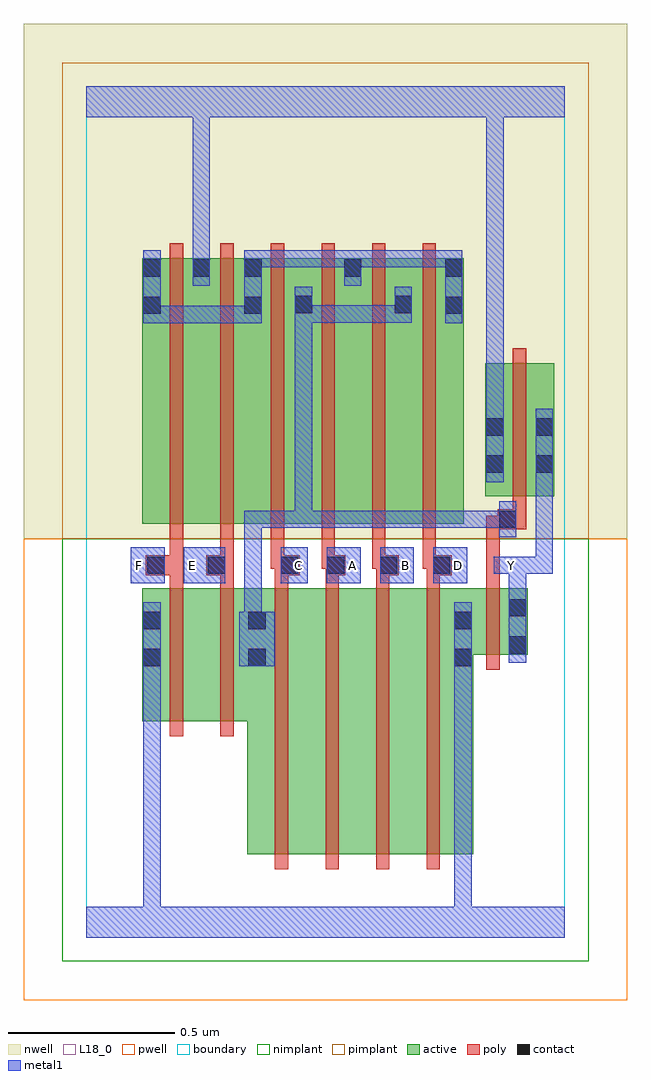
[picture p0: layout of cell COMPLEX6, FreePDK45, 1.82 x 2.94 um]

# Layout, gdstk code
import gdstk
lib = gdstk.Library(unit=1e-6, precision=1e-09)
def R(c, l, rs):  # rectangles x0, y0, x1, y1
    for r in rs: c.add(gdstk.rectangle(r[:2], r[2:], *l))
def A(c, l, x, y, w, h, nx, ny, dx, dy):  # array of equal rectangles
    R(c, l, [(x+i*dx, y+j*dy, x+i*dx+w, y+j*dy+h) for i in range(nx) for j in range(ny)])
active = (1, 0)
pwell = (2, 0)
nwell = (3, 0)
nimplant = (4, 0)
pimplant = (5, 0)
poly = (9, 0)
contact = (10, 0)
metal1 = (11, 0)
L18_0 = (18, 0)
boundary = (235, 0)

complex6 = lib.new_cell('COMPLEX6')
R(complex6, active, [(0.484,0.25,0.664,1.05), (0.664,0.25,0.816,1.05), (0.816,0.25,0.968,1.05), (0.968,0.25,1.164,1.05), (1.104,0.25,1.164,1.05), (0.168,0.65,0.348,1.05), (0.348,0.65,0.544,1.05), (0.168,0.756,0.228,1.05), (0.484,0.756,0.544,0.984), (1.104,0.85,1.328,1.05), (1.268,0.85,1.328,1.05), (0.168,1.244,0.228,2.044), (0.168,1.244,0.376,2.044), (0.316,1.244,0.532,2.044), (0.472,1.244,0.684,2.044), (0.624,1.244,0.832,2.044), (0.772,1.244,0.984,2.044), (0.924,1.244,1.136,2.044), (1.076,1.244,1.136,2.044), (0.624,1.294,0.684,2.044), (0.924,1.32,0.984,2.044), (1.2,1.328,1.26,1.728), (1.2,1.328,1.408,1.728), (1.348,1.328,1.408,1.728), (0.472,1.366,0.532,2.044), (0.772,1.432,0.832,2.044), (0.316,1.448,0.376,2.044)])
R(complex6, pwell, [(-0.188,-0.188,1.628,1.2)])
R(complex6, nwell, [(-0.188,1.2,1.628,2.748)])
R(complex6, nimplant, [(-0.072,-0.072,1.512,1.2)])
R(complex6, pimplant, [(-0.072,1.2,1.512,2.632)])
A(complex6, poly, 0.568, 0.206, 0.04, 0.888, 4, 1, 0.152, 0)
A(complex6, poly, 0.568, 1.054, 0.04, 0.076, 4, 1, 0.152, 0)
A(complex6, poly, 0.252, 1.11, 0.04, 0.13, 6, 1, 0.152, 0)
A(complex6, poly, 0.556, 1.11, 0.052, 0.04, 4, 1, 0.152, 0)
A(complex6, poly, 0.568, 1.11, 0.04, 0.04, 4, 1, 0.152, 0)
A(complex6, poly, 0.252, 1.2, 0.04, 0.888, 6, 1, 0.152, 0)
R(complex6, poly, [(0.252,0.606,0.292,1.094), (0.404,0.606,0.444,1.094), (1.204,0.806,1.244,1.094), (0.252,1.054,0.292,1.13), (0.404,1.054,0.444,1.13), (1.204,1.054,1.244,1.268), (0.18,1.09,0.292,1.15), (0.252,1.09,0.292,1.13), (0.252,1.09,0.292,1.13), (0.362,1.09,0.444,1.15), (0.568,1.09,0.642,1.15), (0.72,1.09,0.78,1.15), (0.872,1.09,0.94,1.15), (1.024,1.09,1.1,1.15), (0.404,1.11,0.444,1.15), (0.404,1.11,0.444,1.15), (1.204,1.228,1.278,1.268), (1.238,1.228,1.278,1.268), (1.238,1.228,1.324,1.288), (1.284,1.248,1.324,1.324), (1.284,1.284,1.324,1.772)])
A(complex6, contact, 0.724, 1.094, 0.052, 0.052, 3, 1, 0.16, 0)
R(complex6, contact, [(0.172,0.816,0.224,0.868), (0.488,0.816,0.54,0.868), (1.108,0.816,1.16,0.868), (1.272,0.854,1.324,0.906), (0.172,0.928,0.224,0.98), (0.488,0.928,0.54,0.98), (1.108,0.928,1.16,0.98), (1.272,0.966,1.324,1.018), (0.184,1.094,0.236,1.146), (0.366,1.094,0.418,1.146), (0.586,1.094,0.638,1.146), (1.242,1.232,1.294,1.284), (1.204,1.398,1.256,1.45), (1.352,1.398,1.404,1.45), (1.204,1.51,1.256,1.562), (1.352,1.51,1.404,1.562), (0.172,1.876,0.224,1.928), (0.476,1.876,0.528,1.928), (1.08,1.876,1.132,1.928), (0.628,1.878,0.68,1.93), (0.928,1.878,0.98,1.93), (0.172,1.988,0.224,2.04), (0.32,1.988,0.372,2.04), (0.476,1.988,0.528,2.04), (0.776,1.988,0.828,2.04), (1.08,1.988,1.132,2.04)])
A(complex6, metal1, 0.724, 1.066, 0.102, 0.108, 3, 1, 0.16, 0)
R(complex6, metal1, [(0,0,1.44,0.092), (0.172,0.04,0.224,0.092), (0.172,0.04,0.224,0.092), (0.172,0.04,0.224,0.84), (1.108,0.04,1.16,0.092), (1.108,0.04,1.16,0.092), (1.108,0.04,1.16,0.84), (0.172,0.788,0.224,0.84), (0.172,0.788,0.224,0.84), (0.172,0.788,0.224,0.84), (0.172,0.788,0.224,0.84), (0.172,0.788,0.224,0.84), (0.172,0.788,0.224,0.84), (0.172,0.788,0.224,0.84), (0.172,0.788,0.224,0.84), (0.172,0.788,0.224,0.84), (0.172,0.788,0.224,0.84), (0.172,0.788,0.224,1.008), (1.108,0.788,1.16,0.84), (1.108,0.788,1.16,0.84), (1.108,0.788,1.16,1.008), (0.46,0.816,0.568,0.98), (1.272,0.826,1.324,1.046), (0.476,0.928,0.528,1.284), (1.272,0.994,1.324,1.146), (0.134,1.066,0.236,1.174), (0.294,1.066,0.418,1.174), (0.586,1.066,0.666,1.174), (1.226,1.094,1.404,1.146), (1.352,1.094,1.404,1.422), (1.242,1.204,1.294,1.312), (0.476,1.232,0.528,1.284), (0.476,1.232,0.528,1.284), (0.476,1.232,0.528,1.284), (0.476,1.232,0.528,1.284), (0.476,1.232,0.528,1.284), (0.476,1.232,0.68,1.284), (0.628,1.232,0.68,1.284), (0.628,1.232,0.68,1.284), (0.628,1.232,0.68,1.284), (0.628,1.232,0.828,1.284), (0.628,1.232,0.68,1.902), (0.776,1.232,0.828,1.284), (0.776,1.232,0.828,1.284), (0.776,1.232,0.828,1.284), (0.776,1.232,0.938,1.284), (0.886,1.232,0.938,1.284), (0.886,1.232,0.938,1.284), (0.886,1.232,0.938,1.284), (0.886,1.232,1.096,1.284), (1.044,1.232,1.096,1.284), (1.044,1.232,1.096,1.284), (1.044,1.232,1.096,1.284), (1.044,1.232,1.294,1.284), (1.204,1.37,1.256,1.59), (1.352,1.37,1.404,1.422), (1.352,1.37,1.404,1.422), (1.352,1.37,1.404,1.59), (1.204,1.538,1.256,1.59), (1.204,1.538,1.256,1.59), (1.204,1.538,1.256,2.52), (0.172,1.848,0.224,1.9), (0.172,1.848,0.224,1.9), (0.172,1.848,0.224,2.068), (0.172,1.848,0.334,1.9), (0.282,1.848,0.334,1.9), (0.282,1.848,0.334,1.9), (0.282,1.848,0.334,1.9), (0.282,1.848,0.528,1.9), (0.476,1.848,0.528,2.068), (1.08,1.848,1.132,2.068), (0.628,1.85,0.68,1.902), (0.628,1.85,0.68,1.902), (0.628,1.85,0.68,1.958), (0.628,1.85,0.79,1.902), (0.738,1.85,0.79,1.902), (0.738,1.85,0.79,1.902), (0.738,1.85,0.79,1.902), (0.738,1.85,0.98,1.902), (0.928,1.85,0.98,1.958), (0.32,1.96,0.372,2.068), (0.776,1.96,0.828,2.068), (0.32,2.016,0.372,2.068), (0.32,2.016,0.372,2.068), (0.32,2.016,0.372,2.068), (0.32,2.016,0.372,2.068), (0.32,2.016,0.372,2.068), (0.32,2.016,0.372,2.068), (0.32,2.016,0.372,2.068), (0.32,2.016,0.372,2.068), (0.32,2.016,0.372,2.52), (0.476,2.016,0.528,2.068), (0.476,2.016,0.528,2.068), (0.476,2.016,0.528,2.068), (0.476,2.016,0.528,2.068), (0.476,2.016,0.678,2.068), (0.626,2.016,0.678,2.068), (0.626,2.016,0.678,2.068), (0.626,2.016,0.678,2.068), (0.626,2.016,0.828,2.068), (0.776,2.016,0.828,2.068), (0.776,2.016,0.828,2.068), (0.776,2.016,0.938,2.068), (0.886,2.016,0.938,2.068), (0.886,2.016,0.938,2.068), (0.886,2.016,0.938,2.068), (0.886,2.016,1.132,2.068), (0,2.468,1.44,2.56), (1.204,2.468,1.256,2.52), (1.204,2.468,1.256,2.52), (1.204,2.468,1.256,2.52), (1.204,2.468,1.256,2.52), (1.204,2.468,1.256,2.52), (1.204,2.468,1.256,2.52), (1.204,2.468,1.256,2.52), (1.204,2.468,1.256,2.52), (1.204,2.468,1.256,2.52), (1.204,2.468,1.256,2.52), (1.204,2.468,1.256,2.52), (1.204,2.468,1.256,2.52), (1.204,2.468,1.256,2.52), (1.204,2.468,1.256,2.52)])
A(complex6, L18_0, 0.724, 1.066, 0.102, 0.108, 3, 1, 0.16, 0)
A(complex6, L18_0, 0.614, 1.094, 0.052, 0.052, 5, 1, 0.16, 0)
R(complex6, L18_0, [(0,0,1.44,0.092), (0.172,0.04,0.224,0.092), (0.172,0.04,0.224,0.092), (0.172,0.04,0.224,0.84), (1.108,0.04,1.16,0.092), (1.108,0.04,1.16,0.092), (1.108,0.04,1.16,0.84), (0.172,0.788,0.224,0.84), (0.172,0.788,0.224,0.84), (0.172,0.788,0.224,0.84), (0.172,0.788,0.224,0.84), (0.172,0.788,0.224,0.84), (0.172,0.788,0.224,0.84), (0.172,0.788,0.224,0.84), (0.172,0.788,0.224,0.84), (0.172,0.788,0.224,0.84), (0.172,0.788,0.224,0.84), (0.172,0.788,0.224,1.008), (1.108,0.788,1.16,0.84), (1.108,0.788,1.16,0.84), (1.108,0.788,1.16,1.008), (1.272,0.826,1.324,1.046), (1.272,0.994,1.324,1.146), (0.134,1.066,0.236,1.174), (0.294,1.066,0.418,1.174), (0.586,1.066,0.666,1.174), (0.134,1.094,0.186,1.146), (0.294,1.094,0.346,1.146), (1.226,1.094,1.404,1.146), (1.352,1.094,1.404,1.422), (1.204,1.37,1.256,1.59), (1.352,1.37,1.404,1.422), (1.352,1.37,1.404,1.422), (1.352,1.37,1.404,1.59), (1.204,1.538,1.256,1.59), (1.204,1.538,1.256,1.59), (1.204,1.538,1.256,2.52), (0.32,1.96,0.372,2.068), (0.32,2.016,0.372,2.068), (0.32,2.016,0.372,2.068), (0.32,2.016,0.372,2.068), (0.32,2.016,0.372,2.068), (0.32,2.016,0.372,2.068), (0.32,2.016,0.372,2.068), (0.32,2.016,0.372,2.068), (0.32,2.016,0.372,2.068), (0.32,2.016,0.372,2.52), (0,2.468,1.44,2.56), (1.204,2.468,1.256,2.52), (1.204,2.468,1.256,2.52), (1.204,2.468,1.256,2.52), (1.204,2.468,1.256,2.52), (1.204,2.468,1.256,2.52), (1.204,2.468,1.256,2.52), (1.204,2.468,1.256,2.52), (1.204,2.468,1.256,2.52), (1.204,2.468,1.256,2.52), (1.204,2.468,1.256,2.52), (1.204,2.468,1.256,2.52), (1.204,2.468,1.256,2.52), (1.204,2.468,1.256,2.52), (1.204,2.468,1.256,2.52)])
R(complex6, boundary, [(0,0,1.44,2.56)])
complex6.add(gdstk.Label('A', (0.8,1.12), layer=11, texttype=0))
complex6.add(gdstk.Label('B', (0.96,1.12), layer=11, texttype=0))
complex6.add(gdstk.Label('C', (0.64,1.12), layer=11, texttype=0))
complex6.add(gdstk.Label('D', (1.12,1.12), layer=11, texttype=0))
complex6.add(gdstk.Label('E', (0.32,1.12), layer=11, texttype=0))
complex6.add(gdstk.Label('F', (0.16,1.12), layer=11, texttype=0))
complex6.add(gdstk.Label('Y', (1.28,1.12), layer=11, texttype=0))

lib.write_gds('COMPLEX6.gds')
